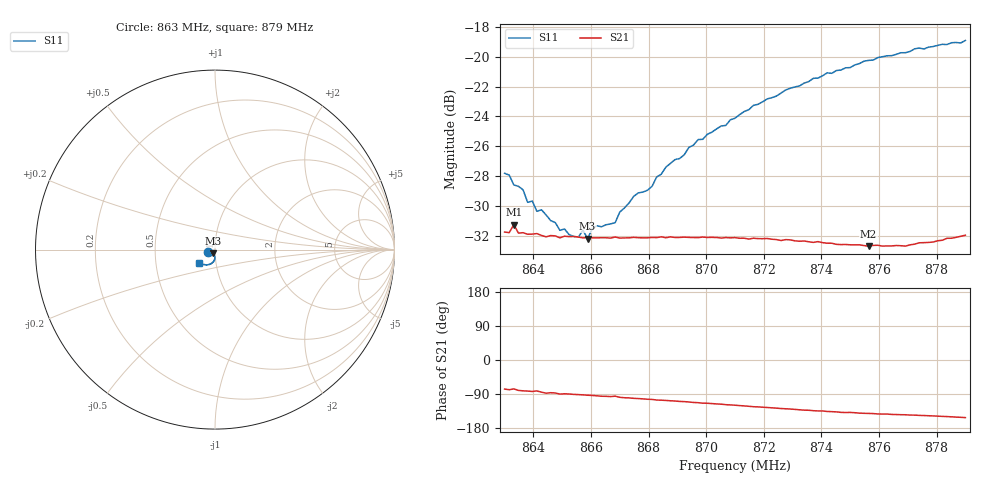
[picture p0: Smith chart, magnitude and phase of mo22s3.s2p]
# HZ S RI R 50
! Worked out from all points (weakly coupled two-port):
!   101 points, 863 MHz to 879 MHz, reference 50 ohm
!   highest |S21| = -31.25 dB at 863.32 MHz (marker M1); lowest = -32.7 dB at 875.64 MHz (marker M2)
!   lowest |S11| = -32.2 dB at 865.88 MHz (marker M3), VSWR 1.05, Z = 48.8 - j2.1 ohm
!   |S11| at or under -10 dB: start of sweep to end of sweep
!   S12 and S22 are empty: the file has one direction only
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8.63e8  -0.0377 -0.0152  0.00593 -0.0252  0 0  0 0
8.6332e8  -0.0338 -0.0156  0.00655 -0.0266  0 0  0 0
8.6348e8  -0.0331 -0.016  0.00436 -0.0253  0 0  0 0
8.638e8  -0.0282 -0.0162  0.00356 -0.0252  0 0  0 0
8.6396e8  -0.0284 -0.0164  0.00309 -0.0253  0 0  0 0
8.6412e8  -0.0259 -0.0158  0.00373 -0.0253  0 0  0 0
8.6428e8  -0.0253 -0.0174  0.00225 -0.0251  0 0  0 0
8.6492e8  -0.0196 -0.0174  2.6e-05 -0.0247  0 0  0 0
8.6556e8  -0.0147 -0.0201  -0.000592 -0.0249  0 0  0 0
8.6572e8  -0.0137 -0.0223  -0.000872 -0.0247  0 0  0 0
8.6588e8  -0.0119 -0.0215  -0.00127 -0.0248  0 0  0 0
8.662e8  -0.0119 -0.0244  -0.00196 -0.0246  0 0  0 0
8.6684e8  -0.00473 -0.0274  -0.00238 -0.0248  0 0  0 0
8.6748e8  -0.00402 -0.0338  -0.0048 -0.0244  0 0  0 0
8.6796e8  -0.00254 -0.0356  -0.00582 -0.024  0 0  0 0
8.6844e8  -0.00107 -0.0404  -0.00689 -0.024  0 0  0 0
8.6972e8  -0.00145 -0.0528  -0.00955 -0.0229  0 0  0 0
8.71e8  -0.00506 -0.0621  -0.0121 -0.0216  0 0  0 0
8.7372e8  -0.0247 -0.081  -0.0165 -0.0172  0 0  0 0
8.7564e8  -0.0464 -0.0855  -0.018 -0.0146  0 0  0 0
8.7644e8  -0.0561 -0.0839  -0.0187 -0.0138  0 0  0 0
8.79e8  -0.0872 -0.0725  -0.0223 -0.0118  0 0  0 0
